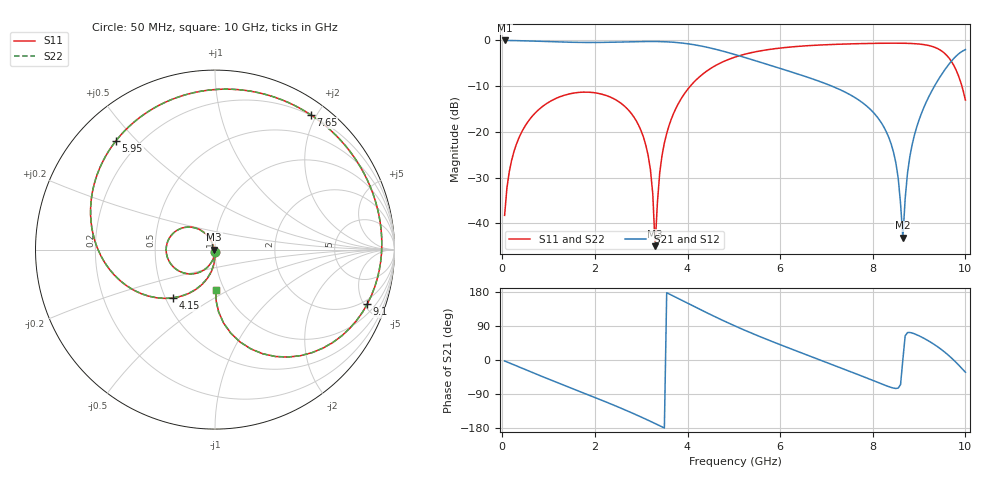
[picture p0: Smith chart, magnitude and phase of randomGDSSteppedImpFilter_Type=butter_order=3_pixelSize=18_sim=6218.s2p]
! freq	dB(S11)	phase(S11)	dB(S12)	phase(S12)
!  dB(S21)	phase(S21)	dB(S22)	phase(S22)
!S-par simulation data
#  GHz  S  DB  R 50
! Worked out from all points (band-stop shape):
!   200 points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, 50 MHz to 10 GHz, reference 50 ohm
!   highest |S21| = 0.00 dB at 50 MHz (marker M1); lowest = -43.2 dB at 8.65 GHz (marker M2)
!   |S21| within 3 dB of the highest: start of sweep to 4.995 GHz; 9.847 GHz to end of sweep
!   lowest |S11| = -45.0 dB at 3.3 GHz (marker M3), VSWR 1.01, Z = 49.4 + j0.0258 ohm
!   |S11| at or under -10 dB: start of sweep to 4.06 GHz; 9.924 GHz to end of sweep
!   |S22| runs from -43.3 to -0.6 dB; largest |S21 - S12| = 0
!   S11 on the Smith chart (normalised r, x): 50 MHz: 1.00, -0.02; 4.15 GHz: 0.55, -0.34; 5.95 GHz: 0.12, +0.44; 7.65 GHz: 0.19, +1.92; 9.1 GHz: 1.63, -5.28; 10 GHz: 0.91, -0.43
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0.05  -38.29 -92.4  -0.00 -2.5  -0.00 -2.5  -38.29 -92.3
0.2  -26.30 -100.3  -0.02 -10.2  -0.02 -10.2  -26.29 -100.3
0.5  -18.61 -115.8  -0.09 -25.5  -0.09 -25.5  -18.61 -115.8
1.75  -11.31 -177.4  -0.44 -86.8  -0.44 -86.8  -11.31 -177.3
2.95  -18.68 122.9  -0.25 -147.8  -0.25 -147.8  -18.68 123.5
3.2  -28.39 112.9  -0.22 -161.9  -0.22 -161.9  -28.35 115.0
3.25  -33.68 115.3  -0.22 -164.7  -0.22 -164.7  -33.54 119.2
3.3  -45.03 177.3  -0.23 -167.6  -0.23 -167.6  -43.29 178.2
3.4  -28.91 -91.1  -0.25 -173.5  -0.25 -173.5  -28.86 -93.5
3.65  -17.20 -101.2  -0.36 171.5  -0.36 171.5  -17.20 -101.9
4.15  -9.00 -130.8  -0.95 140.8  -0.95 140.8  -8.99 -131.0
5.05  -3.56 177.5  -3.16 88.4  -3.16 88.4  -3.56 177.4
5.95  -1.72 132.2  -5.96 42.8  -5.96 42.8  -1.72 132.2
6.7  -1.08 97.5  -8.42 7.8  -8.42 7.8  -1.08 97.5
7.65  -0.71 54.6  -12.72 -36.9  -12.72 -36.9  -0.71 54.7
8.35  -0.60 22.0  -21.33 -70.5  -21.33 -70.5  -0.60 22.1
8.55  -0.60 12.1  -30.20 -74.1  -30.20 -74.1  -0.60 12.1
8.65  -0.61 6.9  -43.19 1.4  -43.19 1.4  -0.61 6.9
8.8  -0.65 -1.3  -25.45 72.6  -25.45 72.6  -0.65 -1.3
9.1  -0.90 -19.7  -14.74 57.6  -14.74 57.6  -0.90 -19.6
9.6  -3.30 -60.6  -5.79 16.1  -5.79 16.1  -3.30 -60.5
10  -13.03 -88.7  -2.01 -32.3  -2.01 -32.3  -13.06 -88.9
